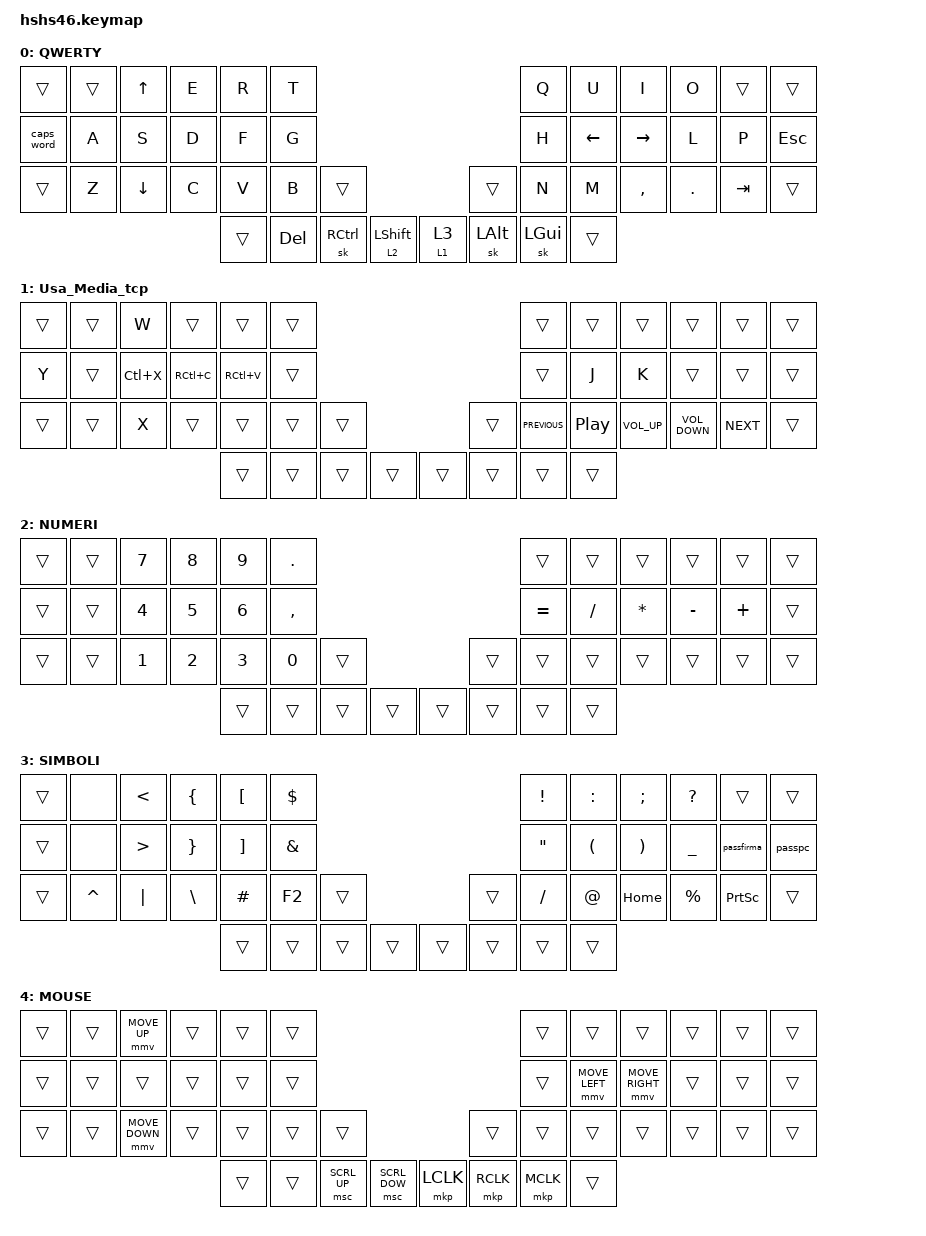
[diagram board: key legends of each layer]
/*
 * Copyright (c) 2021-2022 The ZMK Contributors
 * SPDX-License-Identifier: MIT
 */

#define ZMK_POINTING_DEFAULT_MOVE_VAL 1600
#define ZMK_POINTING_DEFAULT_SCRL_VAL 30
#define MOUSE_TIME_TO_MAX_SPEED 300

#include <dt-bindings/zmk/behaviors.h>
#include <behaviors/num_word.dtsi>
#include <input/processors.dtsi>
#include "keys_it.h"
#include <behaviors.dtsi>
#include <dt-bindings/zmk/keys.h>
#include <dt-bindings/zmk/pointing.h>

&num_word { continue-list = <LPAR RPAR EQUAL SLASH MINUS ASTRK PLUS PRCNT COMMA DOT>; };

&caps_word { continue-list = <SPACE>; };

&mt {
    tapping-term-ms = <150>;
    flavor = "tap-preferred";
};

/ {
    macros {
        passpc: passpc {
            compatible = "zmk,behavior-macro";
            #binding-cells = <0>;
            bindings = <&kp N0 &kp N3 &kp N1 &kp N1>;
        };

        passfirma: passfirma {
            compatible = "zmk,behavior-macro";
            #binding-cells = <0>;
            bindings = <&kp N7 &kp N3 &kp N0 &kp N0 &kp N2 &kp N0 &kp N9 &kp N9>;
        };
    };

    mau_word: mau_word {
        compatible = "zmk,behavior-auto-layer";
        #binding-cells = <1>;
        continue-list = <RCLK MCLK LCLK MOVE_LEFT MOVE_RIGHT MOVE_UP>;
        ignore-modifiers;
    };

    behaviors {
        schiftnum: schiftnum {
            compatible = "zmk,behavior-hold-tap";
            #binding-cells = <2>;
            display-name = "SCHIFTNUM";
            bindings = <&mo>, <&sk>;

            tapping-term-ms = <150>;
            flavor = "tap-preferred";
        };

        symb_usa: symb_usa {
            compatible = "zmk,behavior-hold-tap";
            label = "SYMB_USA";
            bindings = <&mo>, <&sl>;

            #binding-cells = <2>;
            tapping-term-ms = <200>;
            flavor = "tap-preferred";
        };
    };

    combos {
        compatible = "zmk,combos";

        bks {
            timeout-ms = <50>;
            key-positions = <19 20>;
            bindings = <&kp BSPC>;
            layers = <0>;
        };

        spc {
            timeout-ms = <60>;
            key-positions = <15 16>;
            bindings = <&kp SPACE>;
            layers = <0>;
        };

        ent {
            timeout-ms = <50>;
            key-positions = <27 28>;
            bindings = <&kp ENTER>;
            layers = <0>;
        };

        apo {
            bindings = <&kp APOS>;
            key-positions = <19 20 21>;
            layers = <0>;
        };

        num {
            bindings = <&num_word 2>;
            key-positions = <18 32>;
        };

        ent2 {
            bindings = <&kp ENTER>;
            key-positions = <33 34>;
            timeout-ms = <50>;
            layers = <0>;
        };

        mause {
            bindings = <&mau_word 4>;
            key-positions = <17 29>;
        };
    };


        keymap {
                compatible = "zmk,keymap";

                default_layer {
                display-name = "QWERTY"; 
/* QWERTY
 * -------------------------------------------------------------------------------------------------------------------------------------
 * | 0     |   1   |   2   |   3   |   4   |   5   |-----------------------------------|   6   |   7   |   8   |   9   |   10  | 11 |
 * | 12    |   13  |   14  |   15  |   16  |   17  |-----------------------------------|   18  |   19  |   20  |   21  |   22  | 23 |
 * | 24    |   25  |   26  |   27  |   28  |   29  |  30  |-----------  -------|  31   |   32  |   33  |   34  |   35  |   36  | 37 |
 *                                 |   38  |   39  |  40  |  42  |-   --|  43  | 44    |  45   |  46   |
 */
                        bindings = < 
&trans       &trans  &kp UP    &kp E    &kp R      &kp T                                                                         &kp Q         &kp U         &kp I      &kp O      &trans      &trans 
&caps_word   &kp A   &kp S     &kp D    &kp F      &kp G                                                                         &kp H         &kp LEFT      &kp RIGHT  &kp L      &kp P       &kp ESC
&trans       &kp Z   &kp DOWN  &kp C    &kp V      &kp B    &trans                                                 &trans        &kp N         &kp M         &kp COMMA  &kp DOT    &kp TAB     &trans
                                       &trans      &kp DEL  &sk RCTRL  &schiftnum 2 LEFT_SHIFT      &symb_usa 1 3  &sk LEFT_ALT  &sk LEFT_GUI  &trans  
                        >;
                };

                Usa_Media_cp {
                display-name = "Usa_Media_tcp";
                        bindings = <
&trans  &trans     &kp W      &trans     &trans     &trans                                                          &trans          &trans            &trans           &trans             &trans         &trans
&kp Y   &trans     &kp LC(X)  &kp RC(C)  &kp RC(V)  &trans                                                          &trans          &kp J             &kp K            &trans             &trans         &trans
&trans  &trans     &kp X      &trans     &trans     &trans  &trans                                       &trans     &kp C_PREVIOUS  &kp C_PLAY_PAUSE  &kp C_VOLUME_UP  &kp C_VOLUME_DOWN  &kp C_NEXT     &trans    
                                         &trans     &trans  &trans    &trans                   &trans    &trans     &trans  &trans
                        >;
                };

                NUMBER {
                display-name = "NUMERI";
                        bindings = <
&trans  &trans  &kp NUMBER_7  &kp NUMBER_8  &kp NUMBER_9  &kp DOT                                                                &trans     &trans     &trans     &trans     &trans      &trans
&trans  &trans  &kp NUMBER_4  &kp NUMBER_5  &kp NUMBER_6  &kp COMMA                                                              &kp EQUAL  &kp SLASH  &kp ASTRK  &kp MINUS  &kp PLUS    &trans
&trans  &trans  &kp NUMBER_1  &kp NUMBER_2  &kp NUMBER_3  &kp N0     &trans                                         &trans       &trans     &trans     &trans     &trans     &trans      &trans
                                            &trans        &trans     &trans    &trans                  &trans       &trans       &trans     &trans
                        >;
                };

                SIMBOLI {
                display-name = "SIMBOLI";
                        bindings = <
&trans  &none      &kp LESS_THAN     &kp LEFT_BRACE   &kp LBKT            &kp DOLLAR                                            &kp EXCL   &kp COLON  &kp SEMI  &kp QUESTION  &trans          &trans
&trans  &none      &kp GREATER_THAN  &kp RIGHT_BRACE  &kp RIGHT_BRACKET   &kp AMPS                                              &kp DQT    &kp LPAR   &kp RPAR  &kp UNDER     &passfirma       &passpc
&trans  &kp CARET  &kp PIPE          &kp BSLH         &kp HASH            &kp F2      &trans                            &trans  &kp SLASH  &kp AT     &kp HOME  &kp PERCENT   &kp PRINTSCREEN  &trans
                                                      &trans              &trans        &trans       &trans         &trans    &trans  &trans     &trans
                        >;
                };

                MOUSE {
                display-name = "MOUSE";
                        bindings = <
&trans  &trans  &mmv MOVE_UP    &trans  &trans        &trans                                                              &trans     &trans          &trans           &trans  &trans  &trans
&trans  &trans  &trans          &trans  &trans        &trans                                                              &trans     &mmv MOVE_LEFT  &mmv MOVE_RIGHT  &trans  &trans  &trans
&trans  &trans  &mmv MOVE_DOWN  &trans  &trans        &trans     &trans                                        &trans     &trans     &trans          &trans           &trans  &trans  &trans
                                        &trans        &trans     &msc SCRL_UP  &msc SCRL_DOW        &mkp LCLK  &mkp RCLK  &mkp MCLK  &trans
                        >;
                };
        };
};
